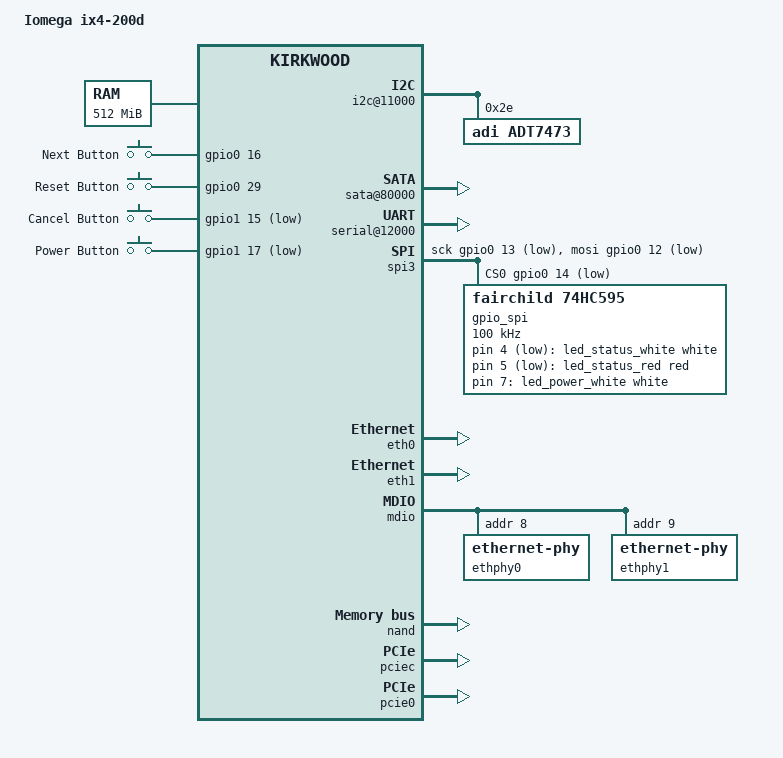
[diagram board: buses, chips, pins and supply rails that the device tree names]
// SPDX-License-Identifier: GPL-2.0-or-later OR MIT
/dts-v1/;

#include "kirkwood.dtsi"
#include "kirkwood-6281.dtsi"
#include <dt-bindings/leds/common.h>

/ {
	model = "Iomega ix4-200d";
	compatible = "iom,ix4-200d", "marvell,kirkwood-88f6281", "marvell,kirkwood";

	aliases {
		led-boot = &led_status_white;
		led-failsafe = &led_status_red;
		led-running = &led_power_white;
		led-upgrade = &led_status_red;
	};

	chosen {
		bootargs = "console=ttyS0,115200n8 earlyprintk";
		stdout-path = &uart0;
	};

	memory {
		device_type = "memory";
		reg = <0x00000000 0x20000000>;
	};

	ocp@f1000000 {
		i2c@11000 {
			status = "okay";

			adt7473@2e {
				compatible = "adi,adt7473";
				reg = <0x2e>;
			};
		};

		pinctrl: pin-controller@10000 {
			pmx_spi: pmx-spi {
				marvell,pins = "mpp12", "mpp13", "mpp14";
				marvell,function = "gpio";
			};

			pmx_keys: pmx-keys {
				marvell,pins = "mpp16", "mpp29", "mpp47", "mpp49";
				marvell,function = "gpio";
			};
		};

		sata@80000 {
			status = "okay";
			nr-ports = <2>;
		};

		serial@12000 {
			status = "okay";
		};

		spi3 {
			compatible = "spi-gpio";
			#address-cells = <0x1>;
			ranges;
			status = "okay";
			sck-gpios = <&gpio0 13 GPIO_ACTIVE_LOW>;
			mosi-gpios = <&gpio0 12 GPIO_ACTIVE_LOW>;
			cs-gpios = <&gpio0 14 GPIO_ACTIVE_LOW>;
			num-chipselects = <1>;
			#size-cells = <0>;

			gpio_spi: gpio_spi@0 {
				compatible = "fairchild,74hc595";
				reg = <0>;
				gpio-controller;
				#gpio-cells = <2>;
				registers-number = <1>;
				spi-max-frequency = <100000>;
			};
		};

		gpio-keys {
			compatible = "gpio-keys";
			pinctrl-0 = <&pmx_keys>;
			pinctrl-names = "default";

			button-0 {
				label = "Next Button";
				linux,code = <BTN_0>;
				gpios = <&gpio0 16 GPIO_ACTIVE_HIGH>;
			};

			button-1 {
				label = "Reset Button";
				linux,code = <KEY_RESTART>;
				gpios = <&gpio0 29 GPIO_ACTIVE_HIGH>;
			};

			button-2 {
				label = "Cancel Button";
				linux,code = <BTN_1>;
				gpios = <&gpio1 15 GPIO_ACTIVE_LOW>;
			};

			button-3 {
				label = "Power Button";
				linux,code = <KEY_POWER2>;
				gpios = <&gpio1 17 GPIO_ACTIVE_LOW>;
			};
		};

		gpio-leds {
			compatible = "gpio-leds";

			led_status_white: led-0 {
				function = LED_FUNCTION_STATUS;
				color = <LED_COLOR_ID_WHITE>;
				gpios = <&gpio_spi 4 GPIO_ACTIVE_LOW>;
			};

			led_status_red: led-1 {
				function = LED_FUNCTION_STATUS;
				color = <LED_COLOR_ID_RED>;
				gpios = <&gpio_spi 5 GPIO_ACTIVE_LOW>;
			};

			led_power_white: led-2 {
				function = LED_FUNCTION_POWER;
				color = <LED_COLOR_ID_WHITE>;
				gpios = <&gpio_spi 7 GPIO_ACTIVE_HIGH>;
			};
		};
	};
};

&eth0 {
	status = "okay";
	ethernet0-port@0 {
		phy-handle = <&ethphy0>;
	};
};

&eth1 {
	status = "okay";
	ethernet1-port@0 {
		phy-handle = <&ethphy1>;
	};
};

&mdio {
	status = "okay";

	ethphy0: ethernet-phy@8 {
		reg = <8>;
	};

	ethphy1: ethernet-phy@9 {
		reg = <9>;
	};
};

&nand {
	status = "okay";

	partitions {
		compatible = "fixed-partitions";
		#address-cells = <1>;
		#size-cells = <1>;

		partition@0 {
			label = "u-boot";
			reg = <0x0000000 0x100000>;
			read-only;
		};

		partition@a0000 {
			label = "u-boot environment";
			reg = <0xa0000 0x20000>;
			read-only;
		};

		partition@100000 {
			label = "kernel";
			reg = <0x100000 0x400000>;
		};

		partition@500000 {
			label = "ubi";
			reg = <0x500000 0x1B00000>;
		};
	};
};

&pciec {
	status = "okay";
};

&pcie0 {
	status = "okay";
};
